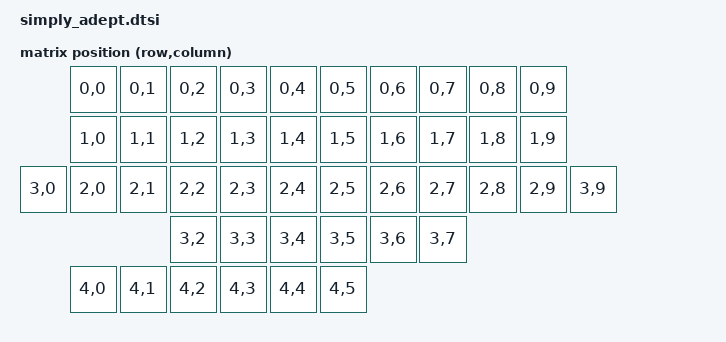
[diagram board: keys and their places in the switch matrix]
#include <dt-bindings/zmk/matrix_transform.h>
#include "simply_adept-layouts.dtsi"

/ {
    chosen {
        zmk,physical-layout = &physical_layout0;
    };

    default_transform: keymap_transform0 {
        compatible = "zmk,matrix-transform";
        columns = <10>;
        rows = <5>;
        /*
         * Totem keyboard: 5×10 matrix, 44 total positions
         *   Row 0-3: 38 keyboard keys (left cols 0-4, right cols 5-9)
         *   Row 4,  cols 0-5: 6 trackball buttons (simply_adept_trackball)
         *
         *        L0      L1      L2      L3      L4          R4      R3      R2      R1      R0
         * Row 0: Q       W       E       R       T           Y       U       I       O       P
         * Row 1: A       S       D       F       G           H       J       K       L       ;
         * Row 2: [outer] Z       X       C       V       B   N       M       ,       .       /  [outer]
         * Row 3:                         [thumb x3]          [thumb x3]
         * Row 4: TB0     TB1     TB2     TB3     TB4     TB5
         */
        map = <
                RC(0,0) RC(0,1) RC(0,2) RC(0,3) RC(0,4)    RC(0,5) RC(0,6) RC(0,7) RC(0,8) RC(0,9)
                RC(1,0) RC(1,1) RC(1,2) RC(1,3) RC(1,4)    RC(1,5) RC(1,6) RC(1,7) RC(1,8) RC(1,9)
        RC(3,0) RC(2,0) RC(2,1) RC(2,2) RC(2,3) RC(2,4)    RC(2,5) RC(2,6) RC(2,7) RC(2,8) RC(2,9) RC(3,9)
                                RC(3,2) RC(3,3) RC(3,4)    RC(3,5) RC(3,6) RC(3,7)
                RC(4,0) RC(4,1) RC(4,2) RC(4,3) RC(4,4) RC(4,5)
        >;
    };
};
